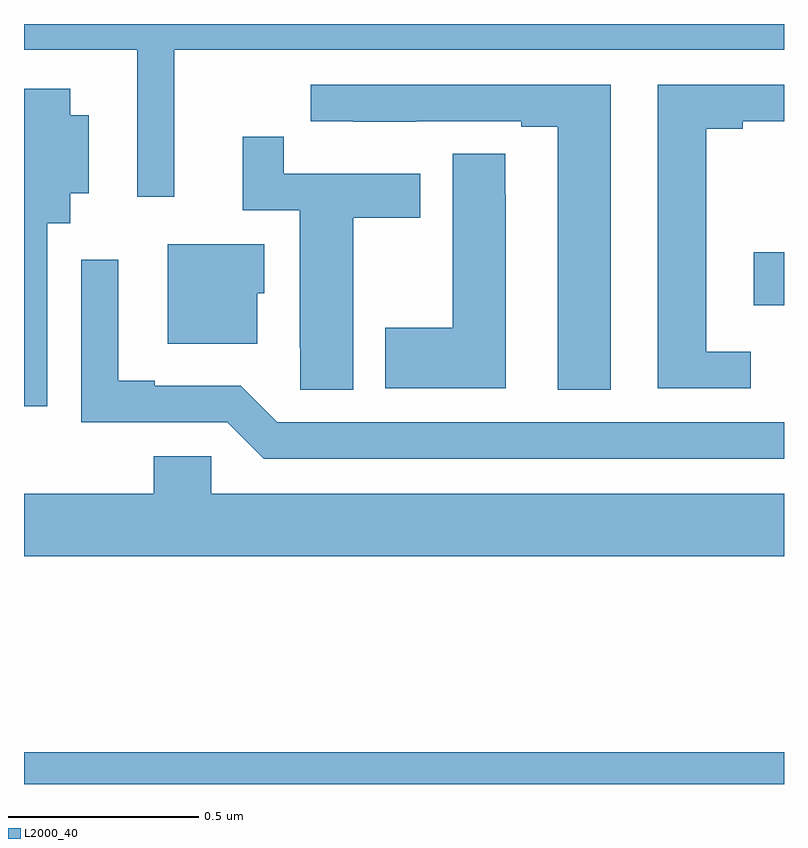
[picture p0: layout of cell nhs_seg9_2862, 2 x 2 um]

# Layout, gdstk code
import gdstk
lib = gdstk.Library(unit=1e-6, precision=1e-09)
def R(c, l, rs):  # rectangles x0, y0, x1, y1
    for r in rs: c.add(gdstk.rectangle(r[:2], r[2:], *l))
def P(c, l, *ps):  # polygons
    for p in ps: c.add(gdstk.Polygon(p, *l))
L2000_40 = (2000, 40)

nhs_seg9_2862 = lib.new_cell('nhs_seg9_2862')
R(nhs_seg9_2862, L2000_40, [(146,1182.5,148,1182.584), (147.92,1183.76,148,1183.9)])
P(nhs_seg9_2862, L2000_40, [(146.396,1184.432),(148,1184.432),(148,1184.5),(146,1184.5),(146,1184.432),(146.298,1184.432),(146.298,1184.046),(146.396,1184.046)],
  [(147.913,1183.638),(147.796,1183.638),(147.796,1184.224),(147.892,1184.224),(147.892,1184.244),(148,1184.244),(148,1184.34),(147.668,1184.34),(147.668,1183.542),(147.913,1183.542)],
  [(147.544,1184.34),(146.754,1184.34),(146.754,1184.244),(146.866,1184.244),(146.866,1184.243),(147.032,1184.243),(147.032,1184.244),(147.308,1184.244),(147.308,1184.229),(147.404,1184.229),(147.404,1183.537),(147.544,1183.537)],
  [(146.061,1183.976),(146.122,1183.976),(146.122,1184.054),(146.17,1184.054),(146.17,1184.26),(146.122,1184.26),(146.122,1184.329),(146,1184.329),(146,1183.494),(146.061,1183.494)],
  [(146.866,1183.99),(147.043,1183.99),(147.043,1184.106),(146.684,1184.106),(146.684,1184.203),(146.576,1184.203),(146.576,1184.01),(146.726,1184.01),(146.726,1183.648),(146.727,1183.648),(146.727,1183.537),(146.866,1183.537)],
  [(147.268,1184.051),(147.267,1184.051),(147.267,1184.159),(147.128,1184.159),(147.128,1183.701),(146.951,1183.701),(146.951,1183.541),(147.268,1183.541)],
  [(146.614,1183.791),(146.632,1183.791),(146.632,1183.921),(146.378,1183.921),(146.378,1183.658),(146.614,1183.658)],
  [(148,1183.452),(146.667,1183.452),(146.571,1183.548),(146.344,1183.548),(146.344,1183.561),(146.248,1183.561),(146.248,1183.879),(146.151,1183.879),(146.151,1183.452),(146.535,1183.452),(146.631,1183.356),(148,1183.356)],
  [(148,1183.264),(146.493,1183.264),(146.493,1183.362),(146.342,1183.362),(146.342,1183.264),(146,1183.264),(146,1183.1),(148,1183.1)])

lib.write_gds('nhs_seg9_2862.gds')
